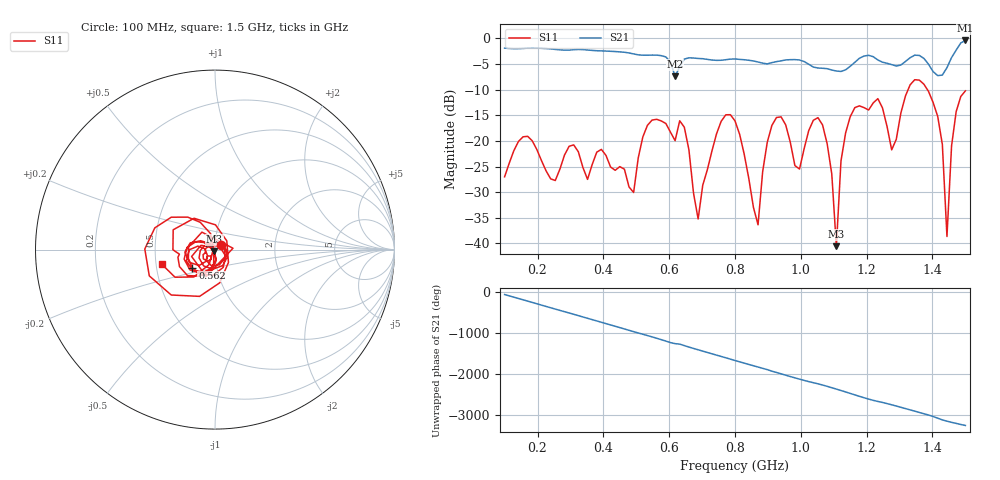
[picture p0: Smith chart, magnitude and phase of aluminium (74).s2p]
! NanoVNA-App
! Date: 2025-09-25 14:55:51
! Start: 100MHz Stop: 1,5GHz Points: 101
! S-Parameter data: F S11 S21 S12 S22
# Hz S RI R 50
!  Frequency  S11_Real  S11_Imag  S21_Real  S21_Imag  S12_Real  S12_Imag  S22_Real  S22_Imag
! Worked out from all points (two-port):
!   101 points, 100 MHz to 1.5 GHz, reference 50 ohm
!   highest |S21| = -0.43 dB at 1.5 GHz (marker M1); lowest = -7.4 dB at 618 MHz (marker M2)
!   |S21| within 3 dB of the highest: start of sweep to 578 MHz; 1.461 GHz to end of sweep (the widest 2 of 4)
!   lowest |S11| = -40.5 dB at 1.108 GHz (marker M3), VSWR 1.02, Z = 49.6 - j0.832 ohm
!   |S11| at or under -10 dB: start of sweep to 1.326 GHz; 1.384 GHz to end of sweep
!   S12 and S22 are empty: the file has one direction only
!   S11 on the Smith chart (normalised r, x): 100 MHz: 1.07, +0.06; 562 MHz: 0.76, -0.16; 1.5 GHz: 0.54, -0.10
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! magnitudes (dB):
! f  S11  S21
! 100 MHz  -27.0  -1.9
! 338 MHz  -25.2  -2.2
! 492 MHz  -30.1  -3.1
! 562 MHz  -15.8  -3.3
! 576 MHz  -16.1  -3.4
! 618 MHz  -20.0  -7.4
! 688 MHz  -35.2  -3.9
! 800 MHz  -16.1  -4.0
! 870 MHz  -36.4  -4.6
! 912 MHz  -17.0  -4.7
! 996 MHz  -25.5  -4.2
! 1.038 GHz  -16.0  -5.6
! 1.08 GHz  -20.6  -5.9
! 1.108 GHz  -40.5  -6.4
! 1.122 GHz  -23.9  -6.5
! 1.164 GHz  -13.5  -4.7
! 1.276 GHz  -21.7  -5.1
! 1.388 GHz  -10.4  -5.1
! 1.43 GHz  -20.7  -7.2
! 1.444 GHz  -38.6  -5.7
! 1.458 GHz  -21.0  -3.8
! 1.5 GHz  -10.2  -0.4
